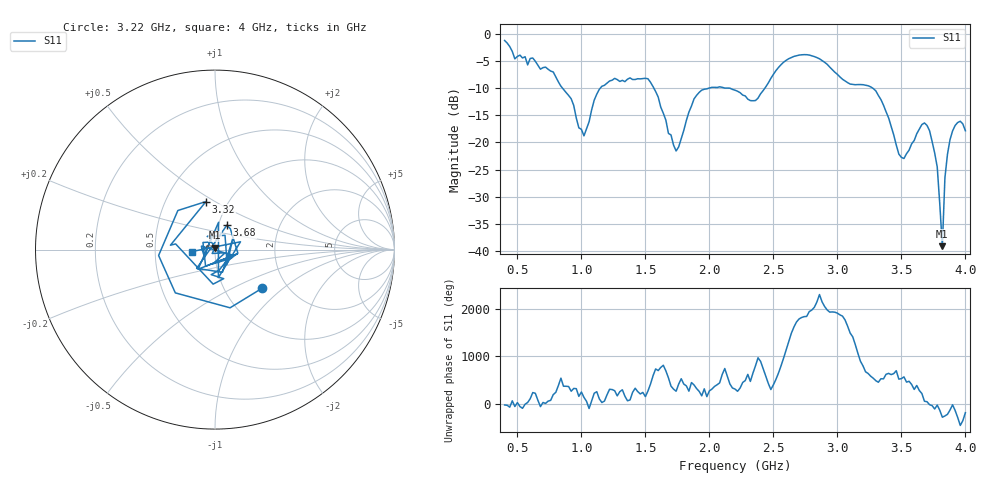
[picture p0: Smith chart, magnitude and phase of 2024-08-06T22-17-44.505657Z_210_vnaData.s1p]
!Created with skrf (http://scikit-rf.org).
# Hz S RI R 50.0
!freq ReS11 ImS11
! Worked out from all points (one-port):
!   181 points, 400 MHz to 4 GHz, reference 50 ohm
!   lowest |S11| = -39.2 dB at 3.82 GHz (marker M1), VSWR 1.02, Z = 50 + j1.1 ohm
!   |S11| at or under -10 dB: 854 MHz to 1.146 GHz (291.7 MHz wide, 29.2 % of centre); 1.567 GHz to 1.99 GHz (422.2 MHz wide, 23.7 % of centre); 3.279 GHz to end of sweep (the widest 3 of 4)
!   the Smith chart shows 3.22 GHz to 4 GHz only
!   S11 on the Smith chart (normalised r, x): 3.22 GHz: 1.49, -0.73; 3.32 GHz: 0.79, +0.46; 3.68 GHz: 1.10, +0.31; 4 GHz: 0.77, -0.02
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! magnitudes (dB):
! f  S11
! 400 MHz  -1.1
! 480 MHz  -4.5
! 620 MHz  -4.4
! 860 MHz  -10.2
! 1.02 GHz  -18.8
! 1.14 GHz  -10.2
! 1.3 GHz  -8.7
! 1.52 GHz  -8.2
! 1.74 GHz  -21.6
! 1.76 GHz  -20.8
! 1.92 GHz  -10.7
! 2.2 GHz  -10.3
! 2.36 GHz  -12.2
! 2.66 GHz  -4.1
! 2.86 GHz  -4.5
! 3.1 GHz  -9.2
! 3.22 GHz  -9.4
! 3.32 GHz  -11.3
! 3.48 GHz  -22.1
! 3.56 GHz  -21.4
! 3.68 GHz  -16.4
! 3.72 GHz  -17.8
! 3.78 GHz  -24.5
! 3.82 GHz  -39.2
! 3.84 GHz  -26.5
! 3.88 GHz  -19.5
! 3.94 GHz  -16.3
! 4 GHz  -17.8
